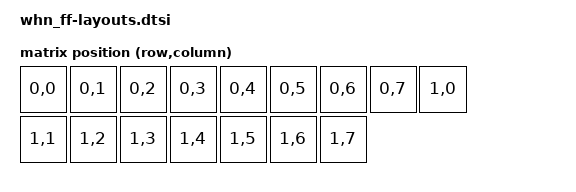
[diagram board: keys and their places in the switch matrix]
// See https://zmk.dev/docs/development/hardware-integration/physical-layouts
// for how to configure this.

#include <physical_layouts.dtsi>

/ {
    default_transform: default_transform {
        compatible = "zmk,matrix-transform";
        columns = <8>;
        rows = <2>;

        map = <
            RC(0, 0) RC(0, 1) RC(0, 2) RC(0, 3) RC(0, 4) RC(0, 5) RC(0, 6) RC(0, 7)
            RC(1, 0) RC(1, 1) RC(1, 2) RC(1, 3) RC(1, 4) RC(1, 5) RC(1, 6) RC(1, 7)
        >;
    };

    default_layout: default_layout {
        compatible = "zmk,physical-layout";
        display-name = "Default Layout";
        transform = <&default_transform>;
        kscan = <&kscan>;

        // Edit this to define the positions and sizes of the keys, or remove it
        // if your keyboard will not support ZMK Studio.
        // https://zmk.dev/docs/development/hardware-integration/physical-layouts#optional-keys-property
        keys  //                     w   h    x    y     rot    rx    ry
            = <&key_physical_attrs 100 100    0    0       0     0     0>
            , <&key_physical_attrs 100 100  100    0       0     0     0>
            , <&key_physical_attrs 100 100  200    0       0     0     0>
            , <&key_physical_attrs 100 100  300    0       0     0     0>
            , <&key_physical_attrs 100 100  400    0       0     0     0>
            , <&key_physical_attrs 100 100  500    0       0     0     0>
            , <&key_physical_attrs 100 100  600    0       0     0     0>
            , <&key_physical_attrs 100 100  700    0       0     0     0>
            , <&key_physical_attrs 100 100  800    0       0     0     0>
            , <&key_physical_attrs 100 100    0  100       0     0     0>
            , <&key_physical_attrs 100 100  100  100       0     0     0>
            , <&key_physical_attrs 100 100  200  100       0     0     0>
            , <&key_physical_attrs 100 100  300  100       0     0     0>
            , <&key_physical_attrs 100 100  400  100       0     0     0>
            , <&key_physical_attrs 100 100  500  100       0     0     0>
            , <&key_physical_attrs 100 100  600  100       0     0     0>
            ;
    };
};
